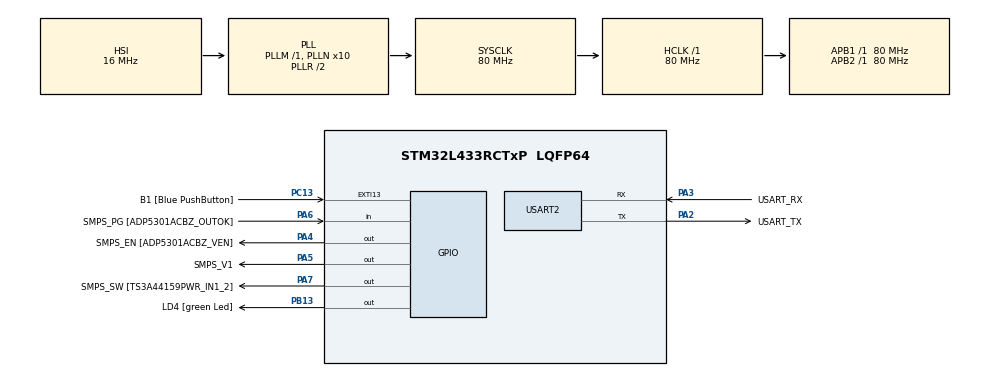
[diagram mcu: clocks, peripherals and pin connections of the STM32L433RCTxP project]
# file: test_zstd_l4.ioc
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Mcu.Family=STM32L4
Mcu.Name=STM32L433RCTxP
Mcu.Package=LQFP64
NVIC.PriorityGroup=NVIC_PRIORITYGROUP_4
PA13\ (JTMS-SWDIO).GPIO_Label=TMS
PA13\ (JTMS-SWDIO).Mode=Serial_Wire
PA13\ (JTMS-SWDIO).Signal=SYS_JTMS-SWDIO
PA14\ (JTCK-SWCLK).GPIO_Label=TCK
PA14\ (JTCK-SWCLK).Mode=Serial_Wire
PA14\ (JTCK-SWCLK).Signal=SYS_JTCK-SWCLK
PA2.GPIO_Label=USART_TX
PA2.GPIO_Mode=GPIO_MODE_AF_PP
PA2.GPIO_PuPd=GPIO_NOPULL
PA2.GPIO_Speed=GPIO_SPEED_FREQ_VERY_HIGH
PA2.Mode=Asynchronous
PA2.Signal=USART2_TX
PA3.GPIO_Label=USART_RX
PA3.GPIO_Mode=GPIO_MODE_AF_PP
PA3.GPIO_PuPd=GPIO_NOPULL
PA3.GPIO_Speed=GPIO_SPEED_FREQ_VERY_HIGH
PA3.Mode=Asynchronous
PA3.Signal=USART2_RX
PA4.GPIO_Label=SMPS_EN [ADP5301ACBZ_VEN]
PA4.Signal=GPIO_Output
PA5.GPIO_Label=SMPS_V1
PA5.GPIO_ModeDefaultOutputPP=GPIO_MODE_OUTPUT_PP
PA5.GPIO_PuPd=GPIO_NOPULL
PA5.GPIO_Speed=GPIO_SPEED_FREQ_LOW
PA5.Signal=GPIO_Output
PA6.GPIO_Label=SMPS_PG [ADP5301ACBZ_OUTOK]
PA6.GPIO_PuPd=GPIO_PULLUP
PA6.Signal=GPIO_Input
PA7.GPIO_Label=SMPS_SW [TS3A44159PWR_IN1_2]
PA7.Signal=GPIO_Output
PB13.GPIO_Label=LD4 [green Led]
PB13.Signal=GPIO_Output
PB3\ (JTDO-TRACESWO).GPIO_Label=SWO
PB3\ (JTDO-TRACESWO).Signal=SYS_JTDO-SWO
PC13.GPIO_Label=B1 [Blue PushButton]
PC13.GPIO_ModeDefaultEXTI=GPIO_MODE_IT_FALLING
PC13.GPIO_PuPd=GPIO_NOPULL
PC13.Signal=GPXTI13
PC14-OSC32_IN\ (PC14).Mode=LSE-External-Oscillator
PC14-OSC32_IN\ (PC14).Signal=RCC_OSC32_IN
PC15-OSC32_OUT\ (PC15).Mode=LSE-External-Oscillator
PC15-OSC32_OUT\ (PC15).Signal=RCC_OSC32_OUT
PH0-OSC_IN\ (PH0).GPIO_Label=MCO
PH0-OSC_IN\ (PH0).Mode=HSE-External-Clock-Source
PH0-OSC_IN\ (PH0).Signal=RCC_OSC_IN
PH1-OSC_OUT\ (PH1).Signal=RCC_OSC_OUT
ProjectManager.HeapSize=0x200
ProjectManager.StackSize=0x400
ProjectManager.TargetToolchain=STM32CubeIDE
RCC.ADCFreq_Value=64000000
RCC.AHBFreq_Value=80000000
RCC.APB1Freq_Value=80000000
RCC.APB1TimFreq_Value=80000000
RCC.APB2Freq_Value=80000000
RCC.APB2TimFreq_Value=80000000
RCC.CortexFreq_Value=80000000
RCC.HCLKFreq_Value=80000000
RCC.HSE_VALUE=8000000
RCC.HSI48_VALUE=48000000
RCC.HSI_VALUE=16000000
RCC.MSI_VALUE=4000000
RCC.PLLN=10
RCC.PLLSourceVirtual=RCC_PLLSOURCE_HSI
RCC.PREFETCH_ENABLE=1
RCC.SYSCLKFreq_VALUE=80000000
RCC.SYSCLKSource=RCC_SYSCLKSOURCE_PLLCLK
RCC.USBFreq_Value=64000000
RCC.VCOOutputFreq_Value=160000000
USART2.VirtualMode-Asynchronous=VM_ASYNC
board=NUCLEO-L433RC-P

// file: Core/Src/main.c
/* USER CODE BEGIN Header */
/**
  ******************************************************************************
  * @file           : main.c
  * @brief          : Main program body
  ******************************************************************************
  * @attention
  *
  * Copyright (c) 2024 STMicroelectronics.
  * All rights reserved.
  *
  * This software is licensed under terms that can be found in the LICENSE file
  * in the root directory of this software component.
  * If no LICENSE file comes with this software, it is provided AS-IS.
  *
  ******************************************************************************
  */
/* USER CODE END Header */
#include "main.h"
/* USER CODE BEGIN Includes */
#include "zstd.h"

//#include "variables_walking.h"
//#include "variables_resting.h"
#include "variables_play_fetch.h"

/* USER CODE END Includes */

/* USER CODE BEGIN PM */
//#define SEQUENCE_NUMBER_TEST

#define INPUT_SIZE 1000    // Tamanho do array de entrada
#define COMPRESSED_SIZE 2000 // Tamanho do buffer de sa�da para compress�o
/* USER CODE END PM */

UART_HandleTypeDef huart2;

/* USER CODE BEGIN PV */
#ifdef SEQUENCE_NUMBER_TEST
uint8_t input_data[INPUT_SIZE];         // Array de dados de entrada
#endif
uint8_t compressed_data[COMPRESSED_SIZE]; // Buffer de sa�da para dados comprimidos
/* USER CODE END PV */

void SystemClock_Config(void);
static void MX_GPIO_Init(void);
static void MX_USART2_UART_Init(void);

/* USER CODE BEGIN 0 */
int _write(int file, char *ptr, int len) {
    HAL_UART_Transmit(&huart2, (uint8_t *)ptr, len, HAL_MAX_DELAY);
    return len;
}
/* USER CODE END 0 */

int main(void)
{

  /* MCU Configuration--------------------------------------------------------*/

  /* Reset of all peripherals, Initializes the Flash interface and the Systick. */
  HAL_Init();

  /* Configure the system clock */
  SystemClock_Config();

  /* Initialize all configured peripherals */
  MX_GPIO_Init();
  MX_USART2_UART_Init();
  /* USER CODE BEGIN 2 */
  // Preencher o array de entrada com alguns dados (exemplo)

#ifdef SEQUENCE_NUMBER_TEST
  for (int i = 0; i < INPUT_SIZE; i++) {
      input_data[i] = i % 256;
  }
#endif

  size_t input_size = sizeof(input_data);
  // Tamanho recomendado para o buffer comprimido
  //size_t compressed_bound = ZSTD_compressBound(input_size);
  uint32_t init_tick = HAL_GetTick();
  // Comprimir o array de dados usando Zstd
  size_t compressed_size = ZSTD_compress(compressed_data, COMPRESSED_SIZE, input_data, input_size, 1);

  if (ZSTD_isError(compressed_size)) {
      // Tratar erro de compress�o
      // Pode-se implementar uma fun��o de log ou piscar um LED para indicar erro
      printf("Erro na compressao: %s\n", ZSTD_getErrorName(compressed_size));

      while (1);
  }

  uint32_t tick = HAL_GetTick() - init_tick;

	if(compressed_size <= input_size)
	{
		uint32_t comp_ratio = 100-((compressed_size*100)/input_size);
		printf("\nCompression Ratio: %lu\nProcess time (ms): %lu", comp_ratio, tick);
	}
	else
	{
		printf("\nData not compressed");
	}

  	printf("\n\nInput Data: \n");
	HAL_UART_Transmit(&huart2, input_data, INPUT_SIZE, HAL_MAX_DELAY);

  	printf("\n\nCompressed File: \n");
	HAL_UART_Transmit(&huart2, compressed_data, compressed_size, HAL_MAX_DELAY);

  /* USER CODE END 2 */

  /* Infinite loop */
  /* USER CODE BEGIN WHILE */
  while (1)
  {
	  HAL_GPIO_TogglePin(GPIOB, GPIO_PIN_13);
	  HAL_Delay(200);
    /* USER CODE END WHILE */

  }
}

void SystemClock_Config(void)
{
  RCC_OscInitTypeDef RCC_OscInitStruct = {0};
  RCC_ClkInitTypeDef RCC_ClkInitStruct = {0};

  /** Configure the main internal regulator output voltage
  */
  if (HAL_PWREx_ControlVoltageScaling(PWR_REGULATOR_VOLTAGE_SCALE1) != HAL_OK)
  {
    Error_Handler();
  }

  /** Initializes the RCC Oscillators according to the specified parameters
  * in the RCC_OscInitTypeDef structure.
  */
  RCC_OscInitStruct.OscillatorType = RCC_OSCILLATORTYPE_HSI;
  RCC_OscInitStruct.HSIState = RCC_HSI_ON;
  RCC_OscInitStruct.HSICalibrationValue = RCC_HSICALIBRATION_DEFAULT;
  RCC_OscInitStruct.PLL.PLLState = RCC_PLL_ON;
  RCC_OscInitStruct.PLL.PLLSource = RCC_PLLSOURCE_HSI;
  RCC_OscInitStruct.PLL.PLLM = 1;
  RCC_OscInitStruct.PLL.PLLN = 10;
  RCC_OscInitStruct.PLL.PLLP = RCC_PLLP_DIV7;
  RCC_OscInitStruct.PLL.PLLQ = RCC_PLLQ_DIV2;
  RCC_OscInitStruct.PLL.PLLR = RCC_PLLR_DIV2;
  if (HAL_RCC_OscConfig(&RCC_OscInitStruct) != HAL_OK)
  {
    Error_Handler();
  }

  /** Initializes the CPU, AHB and APB buses clocks
  */
  RCC_ClkInitStruct.ClockType = RCC_CLOCKTYPE_HCLK|RCC_CLOCKTYPE_SYSCLK
                              |RCC_CLOCKTYPE_PCLK1|RCC_CLOCKTYPE_PCLK2;
  RCC_ClkInitStruct.SYSCLKSource = RCC_SYSCLKSOURCE_PLLCLK;
  RCC_ClkInitStruct.AHBCLKDivider = RCC_SYSCLK_DIV1;
  RCC_ClkInitStruct.APB1CLKDivider = RCC_HCLK_DIV1;
  RCC_ClkInitStruct.APB2CLKDivider = RCC_HCLK_DIV1;

  if (HAL_RCC_ClockConfig(&RCC_ClkInitStruct, FLASH_LATENCY_4) != HAL_OK)
  {
    Error_Handler();
  }
}

static void MX_USART2_UART_Init(void)
{

  huart2.Instance = USART2;
  huart2.Init.BaudRate = 115200;
  huart2.Init.WordLength = UART_WORDLENGTH_8B;
  huart2.Init.StopBits = UART_STOPBITS_1;
  huart2.Init.Parity = UART_PARITY_NONE;
  huart2.Init.Mode = UART_MODE_TX_RX;
  huart2.Init.HwFlowCtl = UART_HWCONTROL_NONE;
  huart2.Init.OverSampling = UART_OVERSAMPLING_16;
  huart2.Init.OneBitSampling = UART_ONE_BIT_SAMPLE_DISABLE;
  huart2.AdvancedInit.AdvFeatureInit = UART_ADVFEATURE_NO_INIT;
  if (HAL_UART_Init(&huart2) != HAL_OK)
  {
    Error_Handler();
  }

}

static void MX_GPIO_Init(void)
{
  GPIO_InitTypeDef GPIO_InitStruct = {0};

  /* GPIO Ports Clock Enable */
  __HAL_RCC_GPIOC_CLK_ENABLE();
  __HAL_RCC_GPIOH_CLK_ENABLE();
  __HAL_RCC_GPIOA_CLK_ENABLE();
  __HAL_RCC_GPIOB_CLK_ENABLE();

  /*Configure GPIO pin Output Level */
  HAL_GPIO_WritePin(GPIOA, SMPS_EN_Pin|SMPS_V1_Pin|SMPS_SW_Pin, GPIO_PIN_RESET);

  /*Configure GPIO pin Output Level */
  HAL_GPIO_WritePin(LD4_GPIO_Port, LD4_Pin, GPIO_PIN_RESET);

  /*Configure GPIO pin : B1_Pin */
  GPIO_InitStruct.Pin = B1_Pin;
  GPIO_InitStruct.Mode = GPIO_MODE_IT_FALLING;
  GPIO_InitStruct.Pull = GPIO_NOPULL;
  HAL_GPIO_Init(B1_GPIO_Port, &GPIO_InitStruct);

  /*Configure GPIO pins : SMPS_EN_Pin SMPS_V1_Pin SMPS_SW_Pin */
  GPIO_InitStruct.Pin = SMPS_EN_Pin|SMPS_V1_Pin|SMPS_SW_Pin;
  GPIO_InitStruct.Mode = GPIO_MODE_OUTPUT_PP;
  GPIO_InitStruct.Pull = GPIO_NOPULL;
  GPIO_InitStruct.Speed = GPIO_SPEED_FREQ_LOW;
  HAL_GPIO_Init(GPIOA, &GPIO_InitStruct);

  /*Configure GPIO pin : SMPS_PG_Pin */
  GPIO_InitStruct.Pin = SMPS_PG_Pin;
  GPIO_InitStruct.Mode = GPIO_MODE_INPUT;
  GPIO_InitStruct.Pull = GPIO_PULLUP;
  HAL_GPIO_Init(SMPS_PG_GPIO_Port, &GPIO_InitStruct);

  /*Configure GPIO pin : LD4_Pin */
  GPIO_InitStruct.Pin = LD4_Pin;
  GPIO_InitStruct.Mode = GPIO_MODE_OUTPUT_PP;
  GPIO_InitStruct.Pull = GPIO_NOPULL;
  GPIO_InitStruct.Speed = GPIO_SPEED_FREQ_LOW;
  HAL_GPIO_Init(LD4_GPIO_Port, &GPIO_InitStruct);

}

void Error_Handler(void)
{
  __disable_irq();
  while (1)
  {
  }
}
